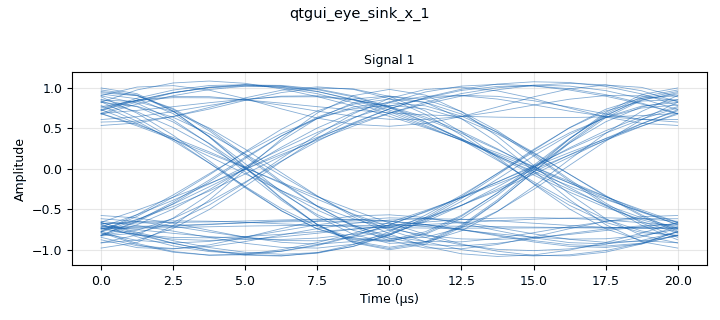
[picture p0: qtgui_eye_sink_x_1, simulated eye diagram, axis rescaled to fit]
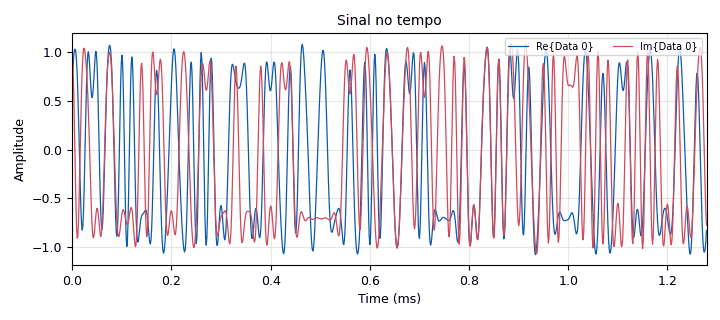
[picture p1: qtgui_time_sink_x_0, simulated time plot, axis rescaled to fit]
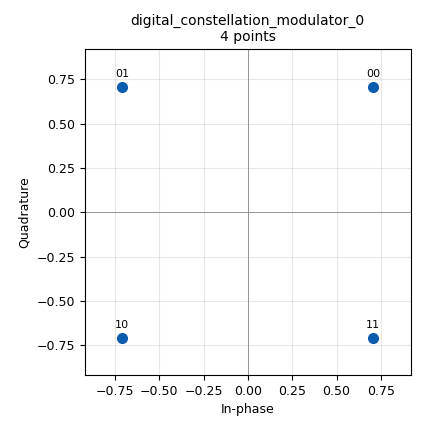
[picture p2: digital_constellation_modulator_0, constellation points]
options:
  parameters:
    category: Custom
    generate_options: qt_gui
    id: pyqt_eye_sink
    output_language: python
    title: Eye Sink Example
  states: {}

blocks:
- name: alpha
  id: variable_qtgui_range
  parameters:
    comment: Roll off factor (RRC filter)
    gui_hint: 0,1,1,1
    label: Roll off
    start: '0.0001'
    step: '0.01'
    stop: '1'
    value: '0.35'
  states: {}
- name: bpsk
  id: variable_constellation_rect
  parameters:
    const_points: '[1, -1]'
    imag_sect: '0'
    real_sect: '2'
    rot_sym: '4'
    sym_map: '[0, 1]'
    w_imag_sect: '1'
    w_real_sect: '1'
  states: {}
- name: nfilts
  id: variable
  parameters:
    value: '32'
  states: {}
- name: noise_volt
  id: variable_qtgui_range
  parameters:
    gui_hint: 0,0,1,1
    label: Noise Voltage
    start: '0'
    step: '0.01'
    stop: '1'
    value: '0.0001'
  states: {}
- name: qam_16
  id: variable_constellation_rect
  parameters:
    const_points: digital.qam_16()[0]
    imag_sect: '2'
    real_sect: '2'
    rot_sym: '4'
    sym_map: digital.qam_16()[1]
    w_imag_sect: '1'
    w_real_sect: '1'
  states: {}
- name: qam_64
  id: variable_constellation_rect
  parameters:
    const_points: |
      [(-7+7j),(-5+7j),(-3+7j),(-1+7j),(+1+7j),(+3+7j),(+5+7j),(+7+7j),(-7+5j),(-5+5j),(-3+5j),(-1+5j),(+1+5j),(+3+5j),(+5+5j),(+7+5j),(-7+3j),(-5+3j),(-3+3j),(-1+3j),(+1+3j),(+3+3j),(+5+3j),(+7+3j),(-7+1j),(-5+1j),(-3+1j),(-1+1j),(+1+1j),(+3+1j),(+5+1j),(+7+1j),(-7-1j),(-5-1j),(-3-1j),(-1-1j),(+1-1j),(+3-1j),(+5-1j),(+7-1j),(-7-3j),(-5-3j),(-3-3j),(-1-3j),(+1-3j),(+3-3j),(+5-3j),(+7-3j),(-7-5j),(-5-5j),(-3-5j),(-1-5j),(+1-5j),(+3-5j),(+5-5j),(+7-5j),(-7-7j),(-5-7j),(-3-7j),(-1-7j),(+1-7j),(+3-7j),(+5-7j),(+7-7j)]
    imag_sect: '2'
    real_sect: '2'
    rot_sym: '4'
    sym_map: '[26, 27,25, 24, 8, 9, 11, 10,30,31,29,28,12, 13,15,14,22,23,21,20,4,5,7,6,18,19,17,16,0,1,3,2,50,51,49,48,32,33,35,34,54,55,53,52,36,37,39,38,62,63,61,60,44,45,47,46,58,59,57,56,40,41,43,42]'
    w_imag_sect: '1'
    w_real_sect: '1'
  states: {}
- name: qpsk
  id: variable_constellation_rect
  parameters:
    const_points: '[0.707+0.707j, -0.707+0.707j, -0.707-0.707j, 0.707-0.707j]'
    imag_sect: '2'
    real_sect: '2'
    rot_sym: '4'
    sym_map: '[0, 1, 2, 3]'
    w_imag_sect: '1'
    w_real_sect: '1'
  states: {}
- name: rrc_taps
  id: variable
  parameters:
    value: firdes.root_raised_cosine(nfilts, nfilts, 1.0/float(sps), alpha, 45*nfilts)
  states: {}
- name: samp_rate
  id: variable
  parameters:
    value: symbol_rate*sps
  states: {}
- name: sps
  id: variable
  parameters:
    value: '8'
  states: {}
- name: symbol_rate
  id: variable
  parameters:
    value: '100000'
  states: {}
- name: taps
  id: variable
  parameters:
    value: '[1.0, 0.25-0.25j, 0.50 + 0.10j, -0.3 + 0.2j]'
  states: {state: disabled}
- name: taps
  id: variable
  parameters:
    value: '[1.0 + 0.0j, ]'
  states: {}
- name: time_offset
  id: variable_qtgui_range
  parameters:
    gui_hint: 0,2,1,1
    label: Timing Offset
    start: '0.999'
    step: '0.0001'
    stop: '1.001'
    value: '1.00'
  states: {}
- name: analog_random_source_x_0
  id: analog_random_source_x
  parameters:
    max: '256'
    min: '0'
    num_samps: '10000'
    repeat: 'True'
    type: byte
  states: {}
- name: blocks_complex_to_real_0
  id: blocks_complex_to_real
  parameters: {}
  states: {}
- name: blocks_throttle2_0
  id: blocks_throttle2
  parameters:
    samples_per_second: samp_rate
    type: complex
  states: {}
- name: digital_constellation_modulator_0
  id: digital_constellation_modulator
  parameters:
    comment: |-
      Constellation can be set to : 
      "bpsk" "qpsk" "qam_16" or "qam_64"
    constellation: qpsk
    differential: 'False'
    excess_bw: alpha
    samples_per_symbol: sps
  states: {}
- name: qtgui_eye_sink_x_1
  id: qtgui_eye_sink_x
  parameters:
    samp_per_symbol: sps
    size: '1024'
    srate: samp_rate
    type: float
  states: {}
- name: qtgui_time_sink_x_0
  id: qtgui_time_sink_x
  parameters:
    name: '"Sinal no tempo"'
    size: '1024'
    srate: samp_rate
    type: complex
  states: {}

connections:
- [analog_random_source_x_0, '0', digital_constellation_modulator_0, '0']
- [blocks_complex_to_real_0, '0', qtgui_eye_sink_x_1, '0']
- [blocks_throttle2_0, '0', blocks_complex_to_real_0, '0']
- [blocks_throttle2_0, '0', qtgui_time_sink_x_0, '0']
- [digital_constellation_modulator_0, '0', blocks_throttle2_0, '0']

metadata:
  file_format: 1
  grc_version: 3.10.7.0
